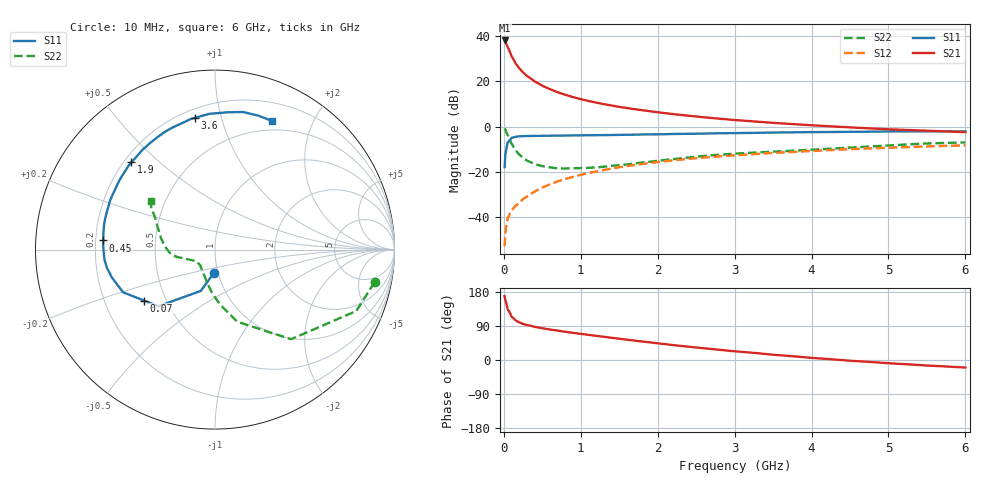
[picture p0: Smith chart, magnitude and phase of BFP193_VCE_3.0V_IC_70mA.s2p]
! Infineon Technologies  Discrete & RF Semiconductors
! BFP193
! VCE =  3.0 V,  IC =  70 mA
! Common Emitter S-Parameters:  Jan 2017
# GHz  S  MA  R  50
!  f  S11  S21  S12  S22
! GHz  MAG  ANG  MAG  ANG  MAG  ANG  MAG  ANG
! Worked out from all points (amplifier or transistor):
!   77 points, 10 MHz to 6 GHz, reference 50 ohm
!   highest |S21| = 38.0 dB at 10 MHz (marker M1)
!   |S21| within 3 dB of that: start of sweep to 51.42 MHz
!   unconditionally stable (mu >= 1): 391.7 MHz to 2.377 GHz
!   at 130 MHz: K = 0.72, MSG = 32.6 dB, |S12| = -35.8 dB
!   at 2.2 GHz: K = 1.01, MAG = 9.7 dB, |S12| = -14.9 dB
!   at 6 GHz: K = 0.94, MSG = 2.9 dB, |S12| = -8.2 dB
!   S11 on the Smith chart (normalised r, x): 10 MHz: 0.96, -0.25; 70 MHz: 0.38, -0.28; 450 MHz: 0.23, +0.04; 1.9 GHz: 0.23, +0.41; 3.6 GHz: 0.25, +0.83; 6 GHz: 0.39, +1.47
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0.01  0.128 -92.0  79.65 168.4  0.0023 80.0  0.9073 -11.5
0.02  0.2435 -109.0  76.56 157.7  0.0045 79.4  0.8586 -23.5
0.05  0.446 -135.0  57.06 133.6  0.0092 63.3  0.6547 -49.7
0.07  0.486 -144.2  48.06 127.9  0.0111 63.0  0.5516 -56.6
0.1  0.5647 -155.1  36.02 114.1  0.014 62.8  0.4207 -72.8
0.15  0.5953 -164.9  25.34 105.0  0.0177 62.0  0.3044 -85.1
0.2  0.6103 -170.4  19.42 99.3  0.0208 65.6  0.2421 -93.8
0.25  0.618 -174.6  15.69 95.2  0.0253 67.6  0.2037 -100.3
0.3  0.6198 -177.6  13.14 92.3  0.0287 68.7  0.178 -106.1
0.4  0.624 177.4  9.963 87.5  0.0369 70.2  0.1494 -114.9
0.45  0.625 175.3  8.97 85.8  0.0411 70.7  0.1415 -118.4
0.6  0.6305 169.9  6.693 80.4  0.0532 70.3  0.1263 -128.6
0.7  0.6338 166.9  5.742 77.5  0.0618 71.0  0.12 -133.3
0.9  0.638 160.9  4.474 71.7  0.0779 69.1  0.1205 -140.7
1.1  0.6451 155.1  3.689 66.4  0.0945 67.5  0.123 -146.4
1.9  0.6744 133.7  2.183 46.6  0.1573 57.4  0.1681 -161.8
2.1  0.6809 128.6  1.98 41.8  0.1724 54.7  0.1838 -164.6
3.1  0.7228 107.4  1.359 21.4  0.2384 41.4  0.2586 -177.8
3.6  0.7427 98.7  1.181 12.4  0.2677 35.4  0.2855 174.4
4.1  0.7582 90.9  1.049 4.2  0.2955 29.3  0.3154 165.6
5.1  0.7822 77.1  0.86 -9.7  0.3469 17.5  0.3918 150.2
6  0.7842 66.0  0.754 -19.9  0.3871 7.3  0.4485 142.8
